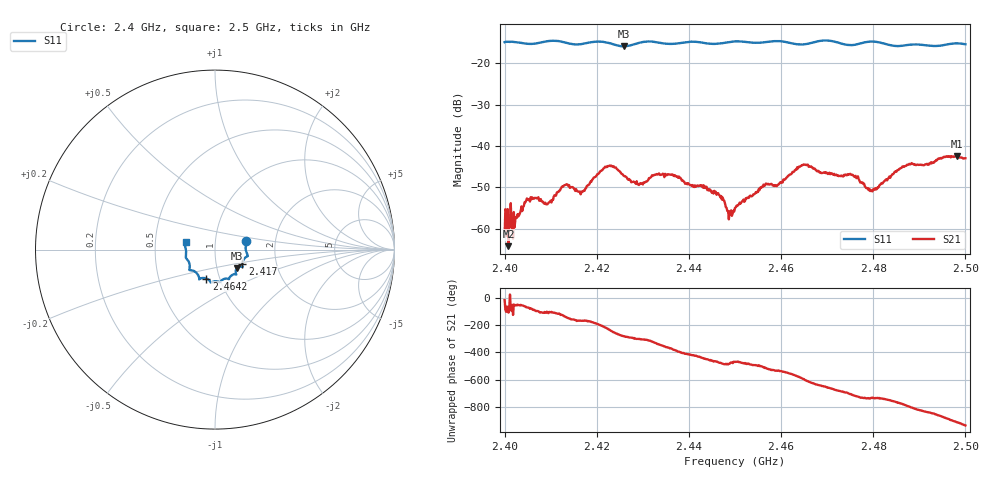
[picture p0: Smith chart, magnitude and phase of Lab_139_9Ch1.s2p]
# Hz S RI R 50
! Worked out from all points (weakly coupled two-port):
!   601 points, 2.4 GHz to 2.5 GHz, reference 50 ohm
!   highest |S21| = -42.45 dB at 2.4982 GHz (marker M1); lowest = -64.2 dB at 2.4008 GHz (marker M2)
!   lowest |S11| = -15.9 dB at 2.4258 GHz (marker M3), VSWR 1.38, Z = 62.3 - j13.2 ohm
!   |S11| at or under -10 dB: start of sweep to end of sweep
!   S12 and S22 are empty: the file has one direction only
!   S11 on the Smith chart (normalised r, x): 2.4 GHz: 1.41, +0.14; 2.417 GHz: 1.34, -0.22; 2.4642 GHz: 0.86, -0.29; 2.5 GHz: 0.72, +0.06
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2.4e9  0.1724 0.049  0.000773 -0.000234  0 0  0 0
2.400833e9  0.1755 0.0452  -0.000198 -0.000584  0 0  0 0
2.405167e9  0.1708 0.012  0.000692 -0.00212  0 0  0 0
2.409667e9  0.1826 -0.0325  -0.000481 -0.00203  0 0  0 0
2.413167e9  0.1728 -0.0417  -0.00253 -0.00225  0 0  0 0
2.416667e9  0.153 -0.0745  -0.00276 -0.000567  0 0  0 0
2.417e9  0.1523 -0.0784  -0.00277 -0.000604  0 0  0 0
2.422333e9  0.1501 -0.0947  -0.004 0.00409  0 0  0 0
2.425833e9  0.1219 -0.1036  0.000869 0.0043  0 0  0 0
2.4295e9  0.1166 -0.1345  0.002 0.00295  0 0  0 0
2.433333e9  0.1129 -0.1376  0.00428 0.00164  0 0  0 0
2.443333e9  0.0677 -0.1618  0.000181 -0.00311  0 0  0 0
2.448833e9  0.032 -0.1776  -0.000891 -0.00136  0 0  0 0
2.45e9  0.029 -0.1811  -0.000572 -0.0017  0 0  0 0
2.464167e9  -0.048 -0.1613  -0.00409 0.00394  0 0  0 0
2.466667e9  -0.0759 -0.1591  -0.00063 0.00549  0 0  0 0
2.475333e9  -0.1097 -0.1237  0.0044 0.000777  0 0  0 0
2.4795e9  -0.1426 -0.114  0.00285 -0.0007  0 0  0 0
2.483333e9  -0.1407 -0.0896  0.00364 -0.00196  0 0  0 0
2.487833e9  -0.1591 -0.051  0.00133 -0.00595  0 0  0 0
2.498167e9  -0.1704 0.0333  -0.00738 0.00153  0 0  0 0
2.5e9  -0.1639 0.0427  -0.0058 0.00411  0 0  0 0
